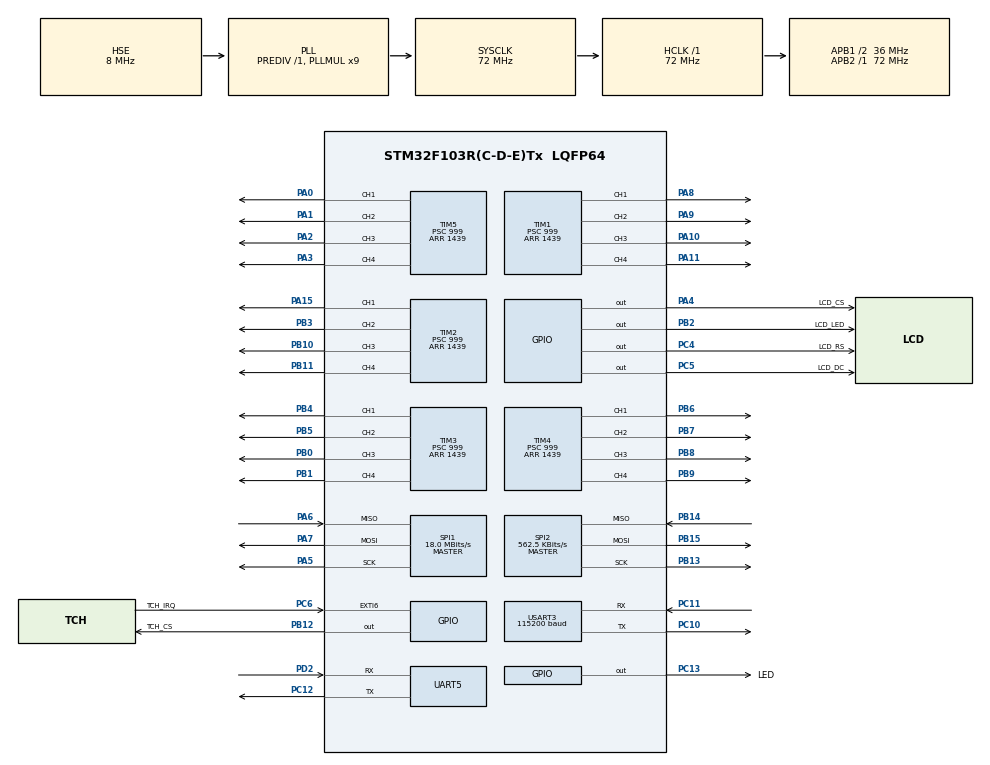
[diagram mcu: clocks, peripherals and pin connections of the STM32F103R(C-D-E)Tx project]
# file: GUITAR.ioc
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Mcu.Family=STM32F1
Mcu.Name=STM32F103R(C-D-E)Tx
Mcu.Package=LQFP64
NVIC.EXTI9_5_IRQn=true\:0\:0\:false\:false\:true\:true\:true\:true
NVIC.PriorityGroup=NVIC_PRIORITYGROUP_4
NVIC.TIM1_UP_IRQn=true\:0\:0\:false\:false\:true\:true\:true\:true
NVIC.TIM2_IRQn=true\:0\:0\:false\:false\:true\:true\:true\:true
NVIC.TIM3_IRQn=true\:0\:0\:false\:false\:true\:true\:true\:true
NVIC.TIM4_IRQn=true\:0\:0\:false\:false\:true\:true\:true\:true
NVIC.TIM5_IRQn=true\:0\:0\:false\:false\:true\:true\:true\:true
NVIC.TIM6_IRQn=true\:15\:0\:false\:false\:true\:false\:true\:true
NVIC.TimeBase=TIM6_IRQn
NVIC.TimeBaseIP=TIM6
NVIC.UART5_IRQn=true\:0\:0\:false\:false\:true\:true\:true\:true
NVIC.USART3_IRQn=true\:0\:0\:false\:false\:true\:true\:true\:true
PA0-WKUP.GPIO_Speed=GPIO_SPEED_FREQ_HIGH
PA0-WKUP.Signal=S_TIM5_CH1
PA1.GPIO_Speed=GPIO_SPEED_FREQ_HIGH
PA1.Signal=S_TIM5_CH2
PA10.GPIO_Speed=GPIO_SPEED_FREQ_HIGH
PA10.Signal=S_TIM1_CH3
PA11.GPIO_Speed=GPIO_SPEED_FREQ_HIGH
PA11.Signal=S_TIM1_CH4
PA13.Mode=Serial_Wire
PA13.Signal=SYS_JTMS-SWDIO
PA14.Mode=Serial_Wire
PA14.Signal=SYS_JTCK-SWCLK
PA15.GPIO_Speed=GPIO_SPEED_FREQ_HIGH
PA15.Signal=S_TIM2_CH1_ETR
PA2.GPIO_Speed=GPIO_SPEED_FREQ_HIGH
PA2.Signal=S_TIM5_CH3
PA3.GPIO_Speed=GPIO_SPEED_FREQ_HIGH
PA3.Signal=S_TIM5_CH4
PA4.GPIO_Label=LCD_CS
PA4.Signal=GPIO_Output
PA5.Mode=Full_Duplex_Master
PA5.Signal=SPI1_SCK
PA6.Mode=Full_Duplex_Master
PA6.Signal=SPI1_MISO
PA7.Mode=Full_Duplex_Master
PA7.Signal=SPI1_MOSI
PA8.GPIO_Speed=GPIO_SPEED_FREQ_HIGH
PA8.Signal=S_TIM1_CH1
PA9.GPIO_Speed=GPIO_SPEED_FREQ_HIGH
PA9.Signal=S_TIM1_CH2
PB0.GPIO_Speed=GPIO_SPEED_FREQ_HIGH
PB0.Signal=S_TIM3_CH3
PB1.GPIO_Speed=GPIO_SPEED_FREQ_HIGH
PB1.Signal=S_TIM3_CH4
PB10.GPIO_Speed=GPIO_SPEED_FREQ_HIGH
PB10.Signal=S_TIM2_CH3
PB11.GPIO_Speed=GPIO_SPEED_FREQ_HIGH
PB11.Signal=S_TIM2_CH4
PB12.GPIO_Label=TCH_CS
PB12.Signal=GPIO_Output
PB13.Mode=Full_Duplex_Master
PB13.Signal=SPI2_SCK
PB14.Mode=Full_Duplex_Master
PB14.Signal=SPI2_MISO
PB15.Mode=Full_Duplex_Master
PB15.Signal=SPI2_MOSI
PB2.GPIO_Label=LCD_LED
PB2.Signal=GPIO_Output
PB3.GPIO_Speed=GPIO_SPEED_FREQ_HIGH
PB3.Signal=S_TIM2_CH2
PB4.GPIO_Speed=GPIO_SPEED_FREQ_HIGH
PB4.Signal=S_TIM3_CH1
PB5.GPIO_Speed=GPIO_SPEED_FREQ_HIGH
PB5.Signal=S_TIM3_CH2
PB6.GPIO_Speed=GPIO_SPEED_FREQ_HIGH
PB6.Signal=S_TIM4_CH1
PB7.GPIO_Speed=GPIO_SPEED_FREQ_HIGH
PB7.Signal=S_TIM4_CH2
PB8.GPIO_Speed=GPIO_SPEED_FREQ_HIGH
PB8.Signal=S_TIM4_CH3
PB9.GPIO_Speed=GPIO_SPEED_FREQ_HIGH
PB9.Signal=S_TIM4_CH4
PC10.Mode=Asynchronous
PC10.Signal=USART3_TX
PC11.Mode=Asynchronous
PC11.Signal=USART3_RX
PC12.Mode=Asynchronous
PC12.Signal=UART5_TX
PC13-TAMPER-RTC.GPIO_Label=LED
PC13-TAMPER-RTC.Signal=GPIO_Output
PC4.GPIO_Label=LCD_RS
PC4.Signal=GPIO_Output
PC5.GPIO_Label=LCD_DC
PC5.Signal=GPIO_Output
PC6.GPIO_Label=TCH_IRQ
PC6.GPIO_ModeDefaultEXTI=GPIO_MODE_IT_FALLING
PC6.GPIO_PuPd=GPIO_PULLUP
PC6.Signal=GPXTI6
PD0-OSC_IN.Mode=HSE-External-Oscillator
PD0-OSC_IN.Signal=RCC_OSC_IN
PD1-OSC_OUT.Mode=HSE-External-Oscillator
PD1-OSC_OUT.Signal=RCC_OSC_OUT
PD2.Mode=Asynchronous
PD2.Signal=UART5_RX
ProjectManager.HeapSize=0x200
ProjectManager.StackSize=0x400
ProjectManager.TargetToolchain=Makefile
RCC.AHBFreq_Value=72000000
RCC.APB1CLKDivider=RCC_HCLK_DIV2
RCC.APB1Freq_Value=36000000
RCC.APB1TimFreq_Value=72000000
RCC.APB2Freq_Value=72000000
RCC.APB2TimFreq_Value=72000000
RCC.HCLKFreq_Value=72000000
RCC.PLLMUL=RCC_PLL_MUL9
RCC.PLLSourceVirtual=RCC_PLLSOURCE_HSE
RCC.SYSCLKFreq_VALUE=72000000
RCC.SYSCLKSource=RCC_SYSCLKSOURCE_PLLCLK
RCC.USBFreq_Value=72000000
SH.S_TIM1_CH1.0=TIM1_CH1,PWM Generation1 CH1
SH.S_TIM1_CH2.0=TIM1_CH2,PWM Generation2 CH2
SH.S_TIM1_CH3.0=TIM1_CH3,PWM Generation3 CH3
SH.S_TIM1_CH4.0=TIM1_CH4,PWM Generation4 CH4
SH.S_TIM2_CH1_ETR.0=TIM2_CH1,PWM Generation1 CH1
SH.S_TIM2_CH2.0=TIM2_CH2,PWM Generation2 CH2
SH.S_TIM2_CH3.0=TIM2_CH3,PWM Generation3 CH3
SH.S_TIM2_CH4.0=TIM2_CH4,PWM Generation4 CH4
SH.S_TIM3_CH1.0=TIM3_CH1,PWM Generation1 CH1
SH.S_TIM3_CH2.0=TIM3_CH2,PWM Generation2 CH2
SH.S_TIM3_CH3.0=TIM3_CH3,PWM Generation3 CH3
SH.S_TIM3_CH4.0=TIM3_CH4,PWM Generation4 CH4
SH.S_TIM4_CH1.0=TIM4_CH1,PWM Generation1 CH1
SH.S_TIM4_CH2.0=TIM4_CH2,PWM Generation2 CH2
SH.S_TIM4_CH3.0=TIM4_CH3,PWM Generation3 CH3
SH.S_TIM4_CH4.0=TIM4_CH4,PWM Generation4 CH4
SH.S_TIM5_CH1.0=TIM5_CH1,PWM Generation1 CH1
SH.S_TIM5_CH2.0=TIM5_CH2,PWM Generation2 CH2
SH.S_TIM5_CH3.0=TIM5_CH3,PWM Generation3 CH3
SH.S_TIM5_CH4.0=TIM5_CH4,PWM Generation4 CH4
SPI1.BaudRatePrescaler=SPI_BAUDRATEPRESCALER_4
SPI1.CalculateBaudRate=18.0 MBits/s
SPI1.Direction=SPI_DIRECTION_2LINES
SPI1.Mode=SPI_MODE_MASTER
SPI1.VirtualType=VM_MASTER
SPI2.BaudRatePrescaler=SPI_BAUDRATEPRESCALER_64
SPI2.CalculateBaudRate=562.5 KBits/s
SPI2.Direction=SPI_DIRECTION_2LINES
SPI2.Mode=SPI_MODE_MASTER
SPI2.VirtualType=VM_MASTER
TIM1.Channel-PWM\ Generation1\ CH1=TIM_CHANNEL_1
TIM1.Channel-PWM\ Generation2\ CH2=TIM_CHANNEL_2
TIM1.Channel-PWM\ Generation3\ CH3=TIM_CHANNEL_3
TIM1.Channel-PWM\ Generation4\ CH4=TIM_CHANNEL_4
TIM1.Period=1439
TIM1.Prescaler=999
TIM2.Channel-PWM\ Generation1\ CH1=TIM_CHANNEL_1
TIM2.Channel-PWM\ Generation2\ CH2=TIM_CHANNEL_2
TIM2.Channel-PWM\ Generation3\ CH3=TIM_CHANNEL_3
TIM2.Channel-PWM\ Generation4\ CH4=TIM_CHANNEL_4
TIM2.Period=1439
TIM2.Prescaler=999
TIM3.Channel-PWM\ Generation1\ CH1=TIM_CHANNEL_1
TIM3.Channel-PWM\ Generation2\ CH2=TIM_CHANNEL_2
TIM3.Channel-PWM\ Generation3\ CH3=TIM_CHANNEL_3
TIM3.Channel-PWM\ Generation4\ CH4=TIM_CHANNEL_4
TIM3.Period=1439
TIM3.Prescaler=999
TIM4.Channel-PWM\ Generation1\ CH1=TIM_CHANNEL_1
TIM4.Channel-PWM\ Generation2\ CH2=TIM_CHANNEL_2
TIM4.Channel-PWM\ Generation3\ CH3=TIM_CHANNEL_3
TIM4.Channel-PWM\ Generation4\ CH4=TIM_CHANNEL_4
TIM4.Period=1439
TIM4.Prescaler=999
TIM5.Channel-PWM\ Generation1\ CH1=TIM_CHANNEL_1
TIM5.Channel-PWM\ Generation2\ CH2=TIM_CHANNEL_2
TIM5.Channel-PWM\ Generation3\ CH3=TIM_CHANNEL_3
TIM5.Channel-PWM\ Generation4\ CH4=TIM_CHANNEL_4
TIM5.Period=1439
TIM5.Prescaler=999
UART5.VirtualMode=Asynchronous
USART3.BaudRate=115200
USART3.VirtualMode=VM_ASYNC
VP_SYS_VS_tim6.Mode=TIM6
VP_TIM1_VS_ClockSourceINT.Mode=Internal
VP_TIM2_VS_ClockSourceINT.Mode=Internal
VP_TIM3_VS_ClockSourceINT.Mode=Internal
VP_TIM4_VS_ClockSourceINT.Mode=Internal
VP_TIM5_VS_ClockSourceINT.Mode=Internal
board=custom

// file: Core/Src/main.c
/* USER CODE BEGIN Header */
/**
  ******************************************************************************
  * @file           : main.c
  * @brief          : Main program body
  ******************************************************************************
  * @attention
  *
  * Copyright (c) 2022 STMicroelectronics.
  * All rights reserved.
  *
  * This software is licensed under terms that can be found in the LICENSE file
  * in the root directory of this software component.
  * If no LICENSE file comes with this software, it is provided AS-IS.
  *
  ******************************************************************************
  */
/* USER CODE END Header */
#include "main.h"
#include "spi.h"
#include "tim.h"
#include "usart.h"
#include "gpio.h"

/* USER CODE BEGIN Includes */
#include "string.h"
#include "servo.h"
#include "lcd.h"
#include "touch.h"
/* USER CODE END Includes */

/* USER CODE BEGIN PD */

#define NO_ERROR    (true)
#define ERROR       (false)

/* USER CODE END PD */

/* USER CODE BEGIN PV */

/*

uint32_t Bai1[] = {
  0b00011111000000010000001000000010,
  0b00100001000000100010010000000000,
  0b00111110000000000000001100000010, ///////
  0b00110001000000001000000100000010,
  0b00101101000000010000001000000000,
  0b00101001000000000000000000000000,
  0b00101000000000000000000000000000,
  0b00101001000000000000000000000000,
  0b00101000000000000000000000000000,
  0b00101010000000000000000000000010,
  0b00000100000000100000000000000000,
  0b00000110000000000000000000000000,
  0b00000100000000000000000000000000,
  0b00000000000000000010000000000000, ////
  0b00000010000000000000000000000010,
  0b00000000000000000000000000000000,
  0b00000010000000000000000000000000,
  0b00010100000000000000000010000000,
  0b00010000000000000000000100000000,
  0b00010010000000000000000000000010,
  0b00010000000000000000000000000010,
  0b00010010000000000000000000000010,
  0b00010110000000000000000000000000,
  0b00011010000000001000000100000000,
  0b00011000000000000000000000000010,
  0b00011100000000000000000010000000,
  0b00011101000000000000000000000000,
  0b00011100000000000000000000000000,
  0b00011110000000000010000000000000,
  0b00011100000000000000000000000010,
  0b00001010000000010000000000000010,
  0b00000010000000000000001000000000,
  0b00000110000000000000000000000000,
  0b00000111000000000000000000000000,
  0b00000110000000000000000000000000,
  0b00000111000000000000000000000000,
  0b00000101000000000000000000000010,
  0b00101011000000100000000000000000,
  0b00101001000000000000000000000000,
  0b00100001000000000000000000000000,
  0b00100011000000000010000000000000,
  0b00100001000000000010000000000000,
  0b00100011000000000010000000000000,
  0b00100001000000000010000000000000,
  0b00110010000000000000000000000010,
  0b00110011000000000001000000000000,
  0b00110010000000000000000000000000,
  0b00111010000000000000001000000000,
  0b00111011000000000000000000000000,
  0b00111010000000000000000000000000,
  0b00111000000000000000000000000010,
  0b00111100000000000000000000000000,
  0b00110100000000001000000000000000,
  0b00110000000000000000000100000000,
  0b00110001000000000000000000000000,
  0b00110011000000000010000000000000,
  0b00110001000000000010000000000000,
  0b00110011000000000000000000000010,
  0b00101101000000010000001000000010,
  0b00111101000000010000000000000000,///
  0b00110101000000000000001000000000,
  0b00111101000000000000001000000000, //
  0b00110101000000000000001000000000,
  0b00111101000000000000001000000000,
  0b00110101000000000000001000000000,
  0b00111101000000000000000000000000,
  0b00010101000000100000000000000000,
  0b00110101000000100000000000000000,
  0b00111101000000000000000000000000,
  0b00101101000000010000000000000000,
  0b00101001000000000000000000000000,
  0b00101101000000000000000000000000,
  0b00100101000000000000001000000000,
  0b00110101000000010000000000000000,
  0b00000101000000000000000000000000,
  0b00010101000000000000000000000000,
  0b00011101000000000000000000000000,
  0b00010101000000000000001000000000,
  0b00011101000000000000000000000000,
  0b00010101000000000000000000000000,
  0b00011101000000000000001000000000,
  0b00010101000000000000000000000000,
  0b00000101000000010000000000000000,
  0b00101101000000000000001000100000,
  0b00100101000000001000000000000000,
  0b00101101000000000000001000000000,
  0b00100101000000000000001000000000,
  0b00110101000000000000010000000000,
  0b00100101000000010000000000000000,
  0b00110101000000010000000000000000,
  0b00100101010000000000000000000000,
  0b00111011000000010000001000000010,
  0b00101011000000010000000000000000,
  0b00100011000000000000001000000000,
  0b00101011000000000000001000000000,
  0b00100011000000000000001000000000,
  0b00101011000000000000001000000000,
  0b00100011000000000000001000000000,
  0b00101011000000000000000000000000,
  0b00000011000000100000000000000000,
  0b00100011000000100000000000000000,
  0b00101011000000000000000000000000,
  0b00100011000000000000000000000000,
  0b00100111000000000000000000000000,
  0b00100011000000000000000000000000,
  0b00100111000000000000000100000000,
  0b00100011000000000000000000000000,
  0b00100111000000000000000100000000,
  0b00001111100000000000001000000000,
  0b00001011000000000000000000000000,
  0b00011011000000010000000000000000
};

*/
/* Define for 6 servo gay */
servo_t servo_w_1 = {
    &htim1,
    TIM_CHANNEL_1
  };
servo_t servo_w_2 = {
    &htim1,
    TIM_CHANNEL_2
  };
servo_t servo_w_3 = {
    &htim1,
    TIM_CHANNEL_3
  };
servo_t servo_w_4 = {
    &htim1,
    TIM_CHANNEL_4
  };
servo_t servo_w_5 = {
    &htim2,
    TIM_CHANNEL_1
  };
servo_t servo_w_6 = {
    &htim2,
    TIM_CHANNEL_2
  };

/*Define for 24 servo nhan */

// Khoang 1
servo_t servo_k_1_1 = {
  &htim2,
  TIM_CHANNEL_4
};
servo_t servo_k_1_2 = {
  &htim2,
  TIM_CHANNEL_3
};
servo_t servo_k_1_3 = {
  &htim3,
  TIM_CHANNEL_4
};
servo_t servo_k_1_4 = {
  &htim3,
  TIM_CHANNEL_3
};
servo_t servo_k_1_5 = {
  &htim3,
  TIM_CHANNEL_2
};
servo_t servo_k_1_6 = {
  &htim3,
  TIM_CHANNEL_1
};

// Khoang 2
servo_t servo_k_2_1 = {
  &htim5,
  TIM_CHANNEL_2
};
servo_t servo_k_2_2 = {
  &htim5,
  TIM_CHANNEL_1
};
servo_t servo_k_2_3 = {
  &htim4,
  TIM_CHANNEL_4
};
servo_t servo_k_2_4 = {
  &htim4,
  TIM_CHANNEL_3
};
servo_t servo_k_2_5 = {
  &htim4,
  TIM_CHANNEL_2
};
servo_t servo_k_2_6 = {
  &htim4,
  TIM_CHANNEL_1
};

// volatile bool isReady = false;

uint8_t RX3_CHAR = '\0';
int RX3_INX = 0;
uint8_t RX3_BUF[10] = {0};
uint8_t RX3_DATA = '\0';
volatile bool isCommand_OK = true;

/* USER CODE END PV */

void SystemClock_Config(void);
/* USER CODE BEGIN PFP */

void HAL_UART_RxCpltCallback(UART_HandleTypeDef *huart)
{
  if (huart == &huart3)
  {
    if (RX3_CHAR != '\0')
    {
      RX3_BUF[RX3_INX++] = RX3_CHAR;
      if (RX3_CHAR == 0x03)
      {
        RX3_DATA = RX3_BUF[RX3_INX - 2];
        RX3_INX = 0;
        RX3_CHAR = '\0';
        memset(RX3_BUF, '\0', sizeof(RX3_BUF));
        isCommand_OK = true;
      }
      RX3_CHAR = '\0';
    }
  }
  HAL_UART_Receive_IT(&huart3, &RX3_CHAR, 1);
}

void HAL_GPIO_EXTI_Callback(uint16_t GPIO_Pin)
{
  if (GPIO_Pin == TCH_IRQ_Pin)
  {

  }
}

/* USER CODE END PFP */

/* USER CODE BEGIN 0 */

bool sendCommand(uint8_t fret, uint8_t wire, uint8_t state)
{
  uint8_t data2send[3];
  data2send[0] = 0xC0;
  data2send[1] = (uint8_t)((fret << 4) | (state << 3) | wire);
  data2send[2] = 0x03;
  RX3_CHAR = '\0';
  isCommand_OK = false;

  HAL_UART_Transmit(&huart3, data2send, 3, 200);

  uint32_t TickStart = HAL_GetTick();
  while (!((isCommand_OK == true) && (RX3_DATA == data2send[1])) && ((HAL_GetTick() - TickStart) <= 2000));

  if (RX3_DATA != data2send[1])
  {
    return false;
  }
  return true;
}

/* USER CODE END 0 */

int main(void)
{

  /* MCU Configuration--------------------------------------------------------*/

  /* Reset of all peripherals, Initializes the Flash interface and the Systick. */
  HAL_Init();

  /* Configure the system clock */
  SystemClock_Config();

  /* Initialize all configured peripherals */
  MX_GPIO_Init();
  MX_SPI1_Init();
  MX_SPI2_Init();
  MX_TIM1_Init();
  MX_TIM2_Init();
  MX_TIM3_Init();
  MX_TIM4_Init();
  MX_TIM5_Init();
  MX_UART5_Init();
  MX_USART3_UART_Init();
  /* USER CODE BEGIN 2 */
  HAL_UART_Receive_IT(&huart3, &RX3_CHAR, 1);

  Servo_Init(&servo_w_1, servo_w_1.htim, servo_w_1.channel);
  Set_servo_xp(&servo_w_1, W1_S1);
  Servo_Init(&servo_w_2, servo_w_2.htim, servo_w_2.channel);
  Set_servo_xp(&servo_w_2, W2_S1);
  Servo_Init(&servo_w_3, servo_w_3.htim, servo_w_3.channel);
  Set_servo_xp(&servo_w_3, W3_S1);
  Servo_Init(&servo_w_4, servo_w_4.htim, servo_w_4.channel);
  Set_servo_xp(&servo_w_4, W4_S1);
  Servo_Init(&servo_w_5, servo_w_5.htim, servo_w_5.channel);
  Set_servo_xp(&servo_w_5, W5_S1);
  Servo_Init(&servo_w_6, servo_w_6.htim, servo_w_6.channel);
  Set_servo_xp(&servo_w_6, W6_S1);

  // Servo_Init(&servo_k_1_1, servo_k_1_1.htim, servo_k_1_1.channel);
  // Set_servo_xp(&servo_k_2_1, K1_W1_RELEASE);
  // Servo_Init(&servo_k_1_2, servo_k_1_2.htim, servo_k_1_2.channel);
  // Set_servo_xp(&servo_k_2_1, K1_W2_RELEASE);
  // Servo_Init(&servo_k_1_3, servo_k_1_3.htim, servo_k_1_3.channel);
  // Set_servo_xp(&servo_k_2_1, K1_W3_RELEASE);
  // Servo_Init(&servo_k_1_4, servo_k_1_4.htim, servo_k_1_4.channel);
  // Set_servo_xp(&servo_k_2_1, K1_W4_RELEASE);
  // Servo_Init(&servo_k_1_5, servo_k_1_5.htim, servo_k_1_5.channel);
  // Set_servo_xp(&servo_k_2_1, K1_W5_RELEASE);
  // Servo_Init(&servo_k_1_6, servo_k_1_6.htim, servo_k_1_6.channel);
  // Set_servo_xp(&servo_k_2_1, K1_W6_RELEASE);

  // Servo_Init(&servo_k_2_1, servo_k_2_1.htim, servo_k_2_1.channel);
  // Set_servo_xp(&servo_k_2_1, K2_W1_RELEASE);
  // Servo_Init(&servo_k_2_2, servo_k_2_2.htim, servo_k_2_2.channel);
  // Set_servo_xp(&servo_k_2_2, K2_W2_RELEASE);
  // Servo_Init(&servo_k_2_3, servo_k_2_3.htim, servo_k_2_3.channel);
  // Set_servo_xp(&servo_k_2_3, K2_W3_RELEASE);
  // Servo_Init(&servo_k_2_4, servo_k_2_4.htim, servo_k_2_4.channel);
  // Set_servo_xp(&servo_k_2_4, K2_W4_RELEASE);
  // Servo_Init(&servo_k_2_5, servo_k_2_5.htim, servo_k_2_5.channel);
  // Set_servo_xp(&servo_k_2_5, K2_W5_RELEASE);
  // Servo_Init(&servo_k_2_6, servo_k_2_6.htim, servo_k_2_6.channel);
  // Set_servo_xp(&servo_k_2_6, K2_W6_RELEASE);

  HAL_Delay(3000);

  volatile bool error = ERROR;
  uint8_t retryCount = 0;
  while ((error == false) && (retryCount == 5))
  {
    error = true;
    retryCount++;
    error &= sendCommand(FRET_3RD, WIRE_1ST, SERVO_RELEASE);
    error &= sendCommand(FRET_3RD, WIRE_2ND, SERVO_RELEASE);
    error &= sendCommand(FRET_3RD, WIRE_3RD, SERVO_RELEASE);
    error &= sendCommand(FRET_3RD, WIRE_4TH, SERVO_RELEASE);
    error &= sendCommand(FRET_3RD, WIRE_5TH, SERVO_RELEASE);
    error &= sendCommand(FRET_3RD, WIRE_6TH, SERVO_RELEASE);

    // error &= sendCommand(FRET_4TH, WIRE_1ST, SERVO_RELEASE);
    // error &= sendCommand(FRET_4TH, WIRE_2ND, SERVO_RELEASE);
    // error &= sendCommand(FRET_4TH, WIRE_3RD, SERVO_RELEASE);
    // error &= sendCommand(FRET_4TH, WIRE_4TH, SERVO_RELEASE);
    // error &= sendCommand(FRET_4TH, WIRE_5TH, SERVO_RELEASE);
    // error &= sendCommand(FRET_4TH, WIRE_6TH, SERVO_RELEASE);
  }

  HAL_GPIO_WritePin(LED_GPIO_Port, LED_Pin, GPIO_PIN_RESET);

  if (error == ERROR)
  {
    for (uint8_t i = 0; i < 20; i++)
    {
      HAL_GPIO_TogglePin(LED_GPIO_Port, LED_Pin);
      HAL_Delay(100);
    }
    __NVIC_SystemReset();
  }
  else
  {
    for (uint8_t i = 0; i < 4; i++)
    {
      HAL_GPIO_TogglePin(LED_GPIO_Port, LED_Pin);
      HAL_Delay(500);
    }
  }

  ILI9341_Unselect();
  ILI9341_TouchUnselect();
  ILI9341_Init();
  ILI9341_FillScreen(ILI9341_BLACK);
  HAL_Delay(500);
  ILI9341_FillScreen(ILI9341_WHITE);

  HAL_GPIO_WritePin(LED_GPIO_Port, LED_Pin, GPIO_PIN_RESET);

  /* USER CODE END 2 */

  /* Infinite loop */
  while (1)
  {

    /* USER CODE BEGIN 3 */

    // HAL_Delay(2000);
    // if (sendCommand(3, 1, 1) == false)
    // {
    //   HAL_GPIO_TogglePin(LED_GPIO_Port, LED_Pin);
    // }

    // Set_servo_xp(&servo_k_1_1, 92);
    // HAL_Delay(300);
    // Set_servo_xp(&servo_w_3, W3_S2);
    // HAL_Delay(2000);

    // for (int i = 0; i < 200; i++)
    // {
    //   Set_servo_xp(&servo_w_1, i);
    //   HAL_Delay(300);
    // }

    // Set_servo_xp(&servo_k_1_1, 70);
    // HAL_Delay(300);
    // Set_servo_xp(&servo_w_3, W3_S1);
    // HAL_Delay(2000);

    //------------------------------------------------------

    // Set_servo_xp(&servo_k_2_2, K3_W2_RELEASE);
    // HAL_Delay(500);
    // Set_servo_xp(&servo_w_2, W2_S2);
    // HAL_Delay(2000);
    // Set_servo_xp(&servo_k_2_2, K3_W2_PRESS);
    // HAL_Delay(500);
    // Set_servo_xp(&servo_w_2, W2_S1);
    // HAL_Delay(2000);
    // Set_servo_xp(&servo_k_2_2, K3_W2_RELEASE);

    // Set_servo_xp(&servo_k_2_3, K3_W3_RELEASE);
    // HAL_Delay(500);
    // Set_servo_xp(&servo_w_3, W3_S2);
    // HAL_Delay(2000);
    // Set_servo_xp(&servo_k_2_3, K3_W3_PRESS);
    // HAL_Delay(500);
    // Set_servo_xp(&servo_w_3, W3_S1);
    // HAL_Delay(2000);
    // Set_servo_xp(&servo_k_2_3, K3_W3_RELEASE);

    //------------------------------------------------------

    // Set_servo_xp(&servo_w_2, W2_S1);
    // Set_servo_xp(&servo_w_3, W3_S1);
    // Set_servo_xp(&servo_w_4, W4_S1);
    // Set_servo_xp(&servo_w_5, W5_S1);
    // Set_servo_xp(&servo_w_6, W6_S1);
    // HAL_Delay(500);
    // Set_servo_xp(&servo_w_1, W1_S2);
    // Set_servo_xp(&servo_w_2, W2_S2);
    // Set_servo_xp(&servo_w_3, W3_S2);
    // Set_servo_xp(&servo_w_4, W4_S2);
    // Set_servo_xp(&servo_w_5, W5_S2);
    // Set_servo_xp(&servo_w_6, W6_S2);
    // HAL_Delay(500);

    //------------------------------------------------------

    // Set_servo_xp(&servo_w_1, W1_S1);
    // HAL_Delay(500);
    // Set_servo_xp(&servo_w_2, W2_S1);
    // HAL_Delay(500);
    // Set_servo_xp(&servo_w_3, W3_S1);
    // HAL_Delay(500);
    // Set_servo_xp(&servo_w_4, W4_S1);
    // HAL_Delay(500);
    // Set_servo_xp(&servo_w_5, W5_S1);
    // HAL_Delay(500);
    // Set_servo_xp(&servo_w_6, W6_S1);
    // HAL_Delay(500);

    // Set_servo_xp(&servo_w_1, W1_S2);
    // HAL_Delay(500);
    // Set_servo_xp(&servo_w_2, W2_S2);
    // HAL_Delay(500);
    // Set_servo_xp(&servo_w_3, W3_S2);
    // HAL_Delay(500);
    // Set_servo_xp(&servo_w_4, W4_S2);
    // HAL_Delay(500);
    // Set_servo_xp(&servo_w_5, W5_S2);
    // HAL_Delay(500);
    // Set_servo_xp(&servo_w_6, W6_S2);
    // HAL_Delay(500);

  }
  /* USER CODE END 3 */
}

void SystemClock_Config(void)
{
  RCC_OscInitTypeDef RCC_OscInitStruct = {0};
  RCC_ClkInitTypeDef RCC_ClkInitStruct = {0};

  /** Initializes the RCC Oscillators according to the specified parameters
  * in the RCC_OscInitTypeDef structure.
  */
  RCC_OscInitStruct.OscillatorType = RCC_OSCILLATORTYPE_HSE;
  RCC_OscInitStruct.HSEState = RCC_HSE_ON;
  RCC_OscInitStruct.HSEPredivValue = RCC_HSE_PREDIV_DIV1;
  RCC_OscInitStruct.HSIState = RCC_HSI_ON;
  RCC_OscInitStruct.PLL.PLLState = RCC_PLL_ON;
  RCC_OscInitStruct.PLL.PLLSource = RCC_PLLSOURCE_HSE;
  RCC_OscInitStruct.PLL.PLLMUL = RCC_PLL_MUL9;
  if (HAL_RCC_OscConfig(&RCC_OscInitStruct) != HAL_OK)
  {
    Error_Handler();
  }

  /** Initializes the CPU, AHB and APB buses clocks
  */
  RCC_ClkInitStruct.ClockType = RCC_CLOCKTYPE_HCLK|RCC_CLOCKTYPE_SYSCLK
                              |RCC_CLOCKTYPE_PCLK1|RCC_CLOCKTYPE_PCLK2;
  RCC_ClkInitStruct.SYSCLKSource = RCC_SYSCLKSOURCE_PLLCLK;
  RCC_ClkInitStruct.AHBCLKDivider = RCC_SYSCLK_DIV1;
  RCC_ClkInitStruct.APB1CLKDivider = RCC_HCLK_DIV2;
  RCC_ClkInitStruct.APB2CLKDivider = RCC_HCLK_DIV1;

  if (HAL_RCC_ClockConfig(&RCC_ClkInitStruct, FLASH_LATENCY_2) != HAL_OK)
  {
    Error_Handler();
  }
}

void HAL_TIM_PeriodElapsedCallback(TIM_HandleTypeDef *htim)
{
  if (htim->Instance == TIM6) {
    HAL_IncTick();
  }
}

void Error_Handler(void)
{
  __disable_irq();
  while (1)
  {
  }
}
